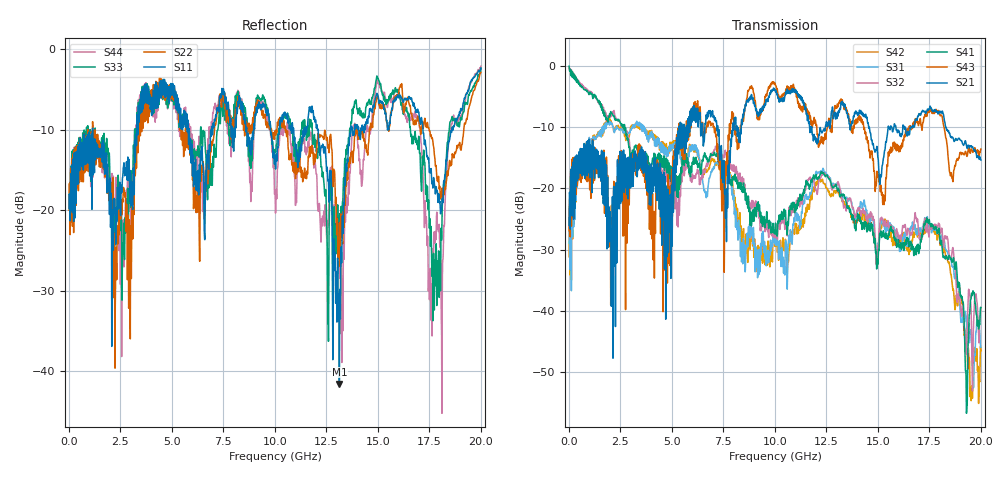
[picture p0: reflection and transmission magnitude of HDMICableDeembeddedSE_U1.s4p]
! File created by SignalIntegrity v1.4.3: Signal and Power Integrity Tools
! https://github.com/Nubis-Communications/SignalIntegrity
# MHz S MA R 50.0
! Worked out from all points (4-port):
!   2000 points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, 10 MHz to 20 GHz, reference 50 ohm
!   strongest paths, dB at 10 MHz, 5.01 GHz, 10.01 GHz, 15.01 GHz, 20 GHz:
!     S21: -26.0, -29.5, -4.0, -15.1, -15.4
!     S43: -26.9, -21.8, -2.9, -17.5, -13.6
!     S41: 0.0, -18.5, -26.9, -31.5, -39.5
!     S32: -0.2, -21.0, -27.2, -29.3, -39.5
!     S31: -29.0, -13.2, -29.1, -29.4, -46.0
!     S42: -31.2, -13.3, -29.2, -30.7, -46.6
!   lowest |S11| = -41.6 dB at 13.13 GHz (marker M1), VSWR 1.02, Z = 50.2 - j0.817 ohm
!   |S11| at or under -10 dB: 1.151 GHz to 3.295 GHz (2.144 GHz wide, 96.4 % of centre); 12.09 GHz to 13.68 GHz (1.59 GHz wide, 12.3 % of centre); 17.19 GHz to 18.59 GHz (1.408 GHz wide, 7.87 % of centre) (the widest 3 of 33)
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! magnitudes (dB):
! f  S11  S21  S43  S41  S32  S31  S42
! 10 MHz  -19.8  -26.0  -26.9  0.0  -0.2  -29.0  -31.2
! 1.92 GHz  -17.6  -26.1  -25.8  -8.6  -8.3  -9.3  -8.8
! 11.76 GHz  -7.8  -10.7  -9.7  -18.6  -18.4  -20.8  -21.1
! 13.13 GHz  -41.6  -7.5  -6.0  -20.6  -19.6  -20.1  -21.2
! 14.99 GHz  -5.7  -14.8  -18.2  -32.4  -29.7  -29.0  -30.7
! 17.95 GHz  -18.0  -7.5  -7.3  -26.6  -25.7  -26.8  -27.2
! 20 GHz  -2.4  -15.4  -13.6  -39.5  -39.5  -46.0  -46.6
